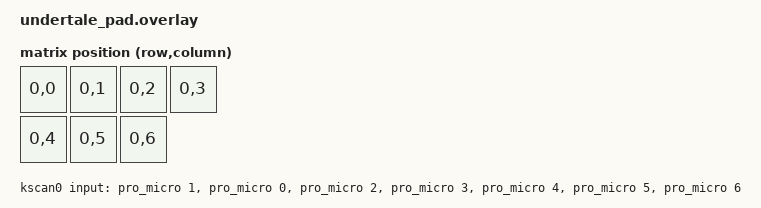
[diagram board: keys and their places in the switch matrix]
#include <dt-bindings/zmk/matrix_transform.h>

/ {
    chosen {
        zmk,kscan = &kscan0;
        zmk,matrix-transform = &default_transform;
    };

    default_transform: keymap_transform_0 {
        compatible = "zmk,matrix-transform";
        columns = <7>;
        rows = <1>;
        map = <
            RC(0,0) RC(0,1) RC(0,2) RC(0,3)
            RC(0,4) RC(0,5) RC(0,6)
        >;
    };

    kscan0: kscan_0 {
        compatible = "zmk,kscan-gpio-direct";
        wakeup-source;
        input-gpios
            = <&pro_micro 1 (GPIO_ACTIVE_LOW | GPIO_PULL_UP)>  // UP    (P0.06)
            , <&pro_micro 0 (GPIO_ACTIVE_LOW | GPIO_PULL_UP)>  // DOWN  (P0.08)
            , <&pro_micro 2 (GPIO_ACTIVE_LOW | GPIO_PULL_UP)>  // LEFT  (P0.17)
            , <&pro_micro 3 (GPIO_ACTIVE_LOW | GPIO_PULL_UP)>  // RIGHT (P0.20)
            , <&pro_micro 4 (GPIO_ACTIVE_LOW | GPIO_PULL_UP)>  // Z     (P0.22)
            , <&pro_micro 5 (GPIO_ACTIVE_LOW | GPIO_PULL_UP)>  // X     (P0.24)
            , <&pro_micro 6 (GPIO_ACTIVE_LOW | GPIO_PULL_UP)>  // C     (P1.00)
            ;
    };
};
